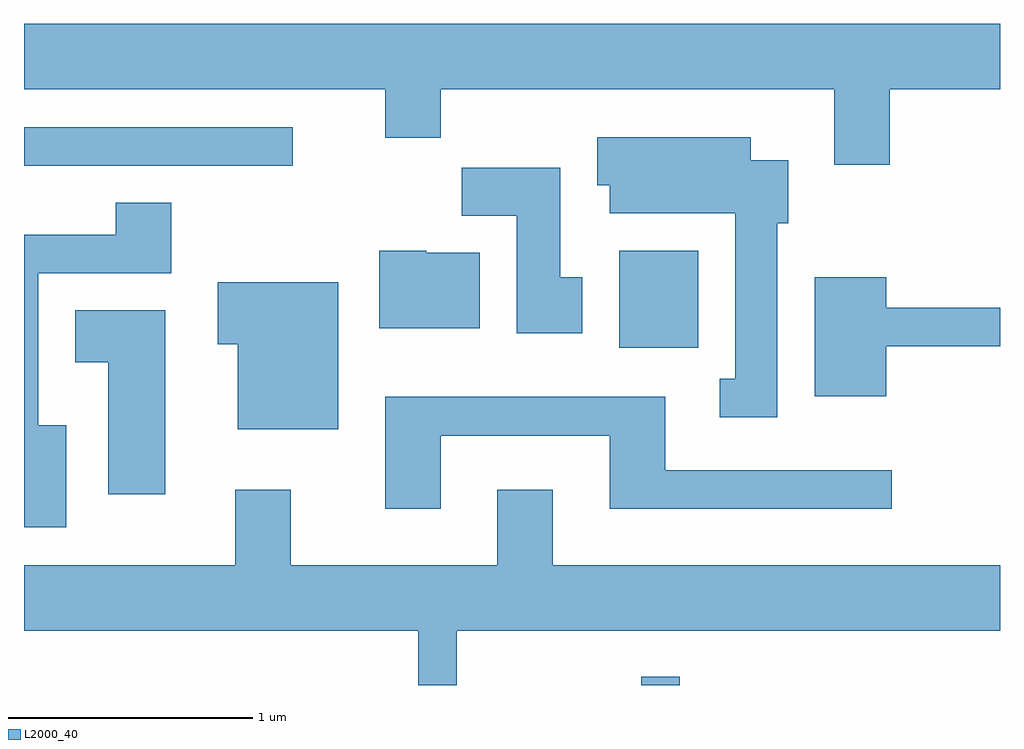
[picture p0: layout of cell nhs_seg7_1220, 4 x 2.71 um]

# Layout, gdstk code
import gdstk
lib = gdstk.Library(unit=1e-6, precision=1e-09)
def R(c, l, rs):  # rectangles x0, y0, x1, y1
    for r in rs: c.add(gdstk.rectangle(r[:2], r[2:], *l))
def P(c, l, *ps):  # polygons
    for p in ps: c.add(gdstk.Polygon(p, *l))
L2000_40 = (2000, 40)

nhs_seg7_1220 = lib.new_cell('nhs_seg7_1220')
R(nhs_seg7_1220, L2000_40, [(224.141,1776.252,224.299,1776.288), (224.051,1777.636,224.374,1778.034), (221.611,1778.381,222.713,1778.539)])
P(nhs_seg7_1220, L2000_40, [(225.159,1778.696),(225.611,1778.696),(225.611,1778.964),(221.611,1778.964),(221.611,1778.696),(223.091,1778.696),(223.091,1778.496),(223.319,1778.496),(223.319,1778.696),(224.931,1778.696),(224.931,1778.386),(225.159,1778.386)],
  [(224.699,1778.146),(224.744,1778.146),(224.744,1778.404),(224.589,1778.404),(224.589,1778.499),(223.961,1778.499),(223.961,1778.301),(224.011,1778.301),(224.011,1778.186),(224.526,1778.186),(224.526,1777.509),(224.463,1777.509),(224.463,1777.351),(224.699,1777.351)],
  [(223.899,1777.924),(223.809,1777.924),(223.809,1778.374),(223.406,1778.374),(223.406,1778.176),(223.631,1778.176),(223.631,1777.696),(223.899,1777.696)],
  [(221.784,1777.319),(221.669,1777.319),(221.669,1777.941),(222.214,1777.941),(222.214,1778.229),(221.986,1778.229),(221.986,1778.099),(221.611,1778.099),(221.611,1776.901),(221.784,1776.901)],
  [(223.479,1778.024),(223.26,1778.024),(223.26,1778.034),(223.066,1778.034),(223.066,1777.716),(223.479,1777.716)],
  [(225.144,1777.641),(225.611,1777.641),(225.611,1777.799),(225.144,1777.799),(225.144,1777.924),(224.851,1777.924),(224.851,1777.436),(225.144,1777.436)],
  [(222.899,1777.904),(222.406,1777.904),(222.406,1777.651),(222.486,1777.651),(222.486,1777.301),(222.899,1777.301)],
  [(222.189,1777.789),(221.821,1777.789),(221.821,1777.576),(221.956,1777.576),(221.956,1777.036),(222.189,1777.036)],
  [(223.319,1777.276),(224.011,1777.276),(224.011,1776.976),(225.168,1776.976),(225.168,1777.134),(224.239,1777.134),(224.239,1777.434),(223.091,1777.434),(223.091,1776.976),(223.319,1776.976)],
  [(223.384,1776.476),(225.611,1776.476),(225.611,1776.744),(223.779,1776.744),(223.779,1777.054),(223.551,1777.054),(223.551,1776.744),(222.704,1776.744),(222.704,1777.054),(222.476,1777.054),(222.476,1776.744),(221.611,1776.744),(221.611,1776.476),(223.226,1776.476),(223.226,1776.252),(223.384,1776.252)])

lib.write_gds('nhs_seg7_1220.gds')
